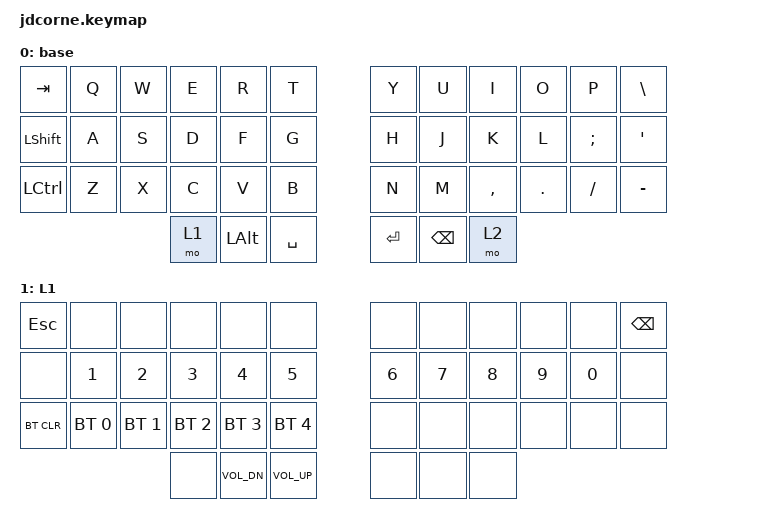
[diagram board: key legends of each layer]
#include <behaviors.dtsi>
#include <dt-bindings/zmk/keys.h>
#include <dt-bindings/zmk/bt.h>
#include <dt-bindings/zmk/outputs.h>

#define DEFAULT 0
#define LAYER 1

/ {
    keymap {
        compatible = "zmk,keymap";

        default_layer {
            display-name = "base";
            bindings = <
                &kp TAB          &kp Q &kp W &kp E    &kp R        &kp T             &kp Y     &kp U         &kp I     &kp O   &kp P         &kp BACKSLASH
                &kp LEFT_SHIFT   &kp A &kp S &kp D    &kp F        &kp G             &kp H     &kp J         &kp K     &kp L   &kp SEMICOLON &kp SQT
                &kp LEFT_CONTROL &kp Z &kp X &kp C    &kp V        &kp B             &kp N     &kp M         &kp COMMA &kp DOT &kp SLASH     &kp MINUS
                                             &mo 1    &kp LEFT_ALT &kp SPACE         &kp ENTER &kp BACKSPACE &mo 2
                >;
        };
        
        layer_1 {
            display-name = "L1";
            bindings = <
                &kp ESC    &none        &none        &none         &none         &none                  &none        &none        &none        &none        &none        &kp BACKSPACE
                &none      &kp NUMBER_1 &kp NUMBER_2 &kp NUMBER_3  &kp NUMBER_4  &kp NUMBER_5           &kp NUMBER_6 &kp NUMBER_7 &kp NUMBER_8 &kp NUMBER_9 &kp NUMBER_0 &none
                &bt BT_CLR &bt BT_SEL 0 &bt BT_SEL 1 &bt BT_SEL 2  &bt BT_SEL 3  &bt BT_SEL 4           &none        &none        &none        &none        &none        &none
                                                     &none         &kp C_VOL_DN  &kp C_VOL_UP           &none        &none        &none
                >;
        };
    };
};

/ {
    combos {
        compatible = "zmk,combos";
        combo_p {
            timeout-ms = <50>;
            key-positions = <0 1>;
            bindings = <&kp P>;
        };

        combo_o {
            timeout-ms = <50>;
            key-positions = <1 2>;
            bindings = <&kp O>;
        };

        combo_i {
            timeout-ms = <50>;
            key-positions = <2 3>;
            bindings = <&kp I>;
        };

        combo_u {
            timeout-ms = <50>;
            key-positions = <3 4>;
            bindings = <&kp U>;
        };

        combo_y {
            timeout-ms = <50>;
            key-positions = <4 5>;
            bindings = <&kp Y>;
        };

        combo_l {
            timeout-ms = <50>;
            key-positions = <13 14>;
            bindings = <&kp L>;
        };

        combo_k {
            timeout-ms = <50>;
            key-positions = <14 15>;
            bindings = <&kp K>;
        };

        combo_j {
            timeout-ms = <50>;
            key-positions = <15 16>;
            bindings = <&kp J>;
        };

        combo_h {
            timeout-ms = <50>;
            key-positions = <16 17>;
            bindings = <&kp H>;
        };

        combo_. {
            timeout-ms = <50>;
            key-positions = <25 26>;
            bindings = <&kp DOT>;
        };

        combo_, {
            timeout-ms = <50>;
            key-positions = <26 27>;
            bindings = <&kp COMMA>;
        };

        combo_m {
            timeout-ms = <50>;
            key-positions = <27 28>;
            bindings = <&kp M>;
        };

        combo_n {
            timeout = <50>;
            key-positions = <28 29>;
            bindings = <&kp N>;
        };
    };
};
